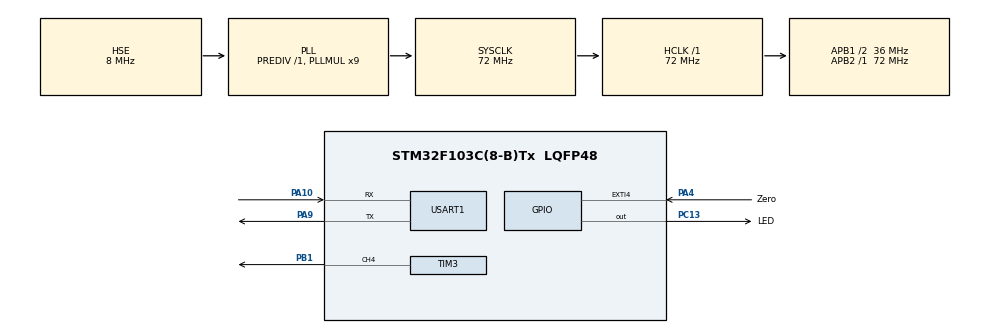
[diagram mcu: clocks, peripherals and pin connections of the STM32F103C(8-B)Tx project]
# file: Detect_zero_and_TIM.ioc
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Mcu.Family=STM32F1
Mcu.Name=STM32F103C(8-B)Tx
Mcu.Package=LQFP48
NVIC.EXTI4_IRQn=true\:0\:0\:false\:false\:true\:true\:true
NVIC.PriorityGroup=NVIC_PRIORITYGROUP_4
NVIC.TIM3_IRQn=true\:0\:0\:false\:false\:true\:true\:true
PA10.Mode=Asynchronous
PA10.Signal=USART1_RX
PA13.Mode=Serial_Wire
PA13.Signal=SYS_JTMS-SWDIO
PA14.Mode=Serial_Wire
PA14.Signal=SYS_JTCK-SWCLK
PA4.GPIO_Label=Zero
PA4.GPIO_ModeDefaultEXTI=GPIO_MODE_IT_FALLING
PA4.Signal=GPXTI4
PA9.Mode=Asynchronous
PA9.Signal=USART1_TX
PB1.Signal=S_TIM3_CH4
PC13-TAMPER-RTC.GPIO_Label=LED
PC13-TAMPER-RTC.Signal=GPIO_Output
PD0-OSC_IN.Mode=HSE-External-Oscillator
PD0-OSC_IN.Signal=RCC_OSC_IN
PD1-OSC_OUT.Mode=HSE-External-Oscillator
PD1-OSC_OUT.Signal=RCC_OSC_OUT
ProjectManager.HeapSize=0x200
ProjectManager.StackSize=0x400
ProjectManager.TargetToolchain=STM32CubeIDE
RCC.AHBFreq_Value=72000000
RCC.APB1CLKDivider=RCC_HCLK_DIV2
RCC.APB1Freq_Value=36000000
RCC.APB1TimFreq_Value=72000000
RCC.APB2Freq_Value=72000000
RCC.APB2TimFreq_Value=72000000
RCC.HCLKFreq_Value=72000000
RCC.PLLMUL=RCC_PLL_MUL9
RCC.PLLSourceVirtual=RCC_PLLSOURCE_HSE
RCC.SYSCLKFreq_VALUE=72000000
RCC.SYSCLKSource=RCC_SYSCLKSOURCE_PLLCLK
RCC.USBFreq_Value=72000000
SH.S_TIM3_CH4.0=TIM3_CH4,Output Compare4 CH4
TIM3.Channel-Output\ Compare4\ CH4=TIM_CHANNEL_4
TIM3.Period=10000
TIM3.Prescaler=7200
USART1.VirtualMode=VM_ASYNC
VP_TIM3_VS_ClockSourceINT.Mode=Internal
board=custom

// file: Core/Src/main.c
/* USER CODE BEGIN Header */
/**
  ******************************************************************************
  * @file           : main.c
  * @brief          : Main program body
  ******************************************************************************
  * @attention
  *
  * <h2><center>&copy; Copyright (c) 2021 STMicroelectronics.
  * All rights reserved.</center></h2>
  *
  * This software component is licensed by ST under BSD 3-Clause license,
  * the "License"; You may not use this file except in compliance with the
  * License. You may obtain a copy of the License at:
  *                        opensource.org/licenses/BSD-3-Clause
  *
  ******************************************************************************
  */
/* USER CODE END Header */
#include "main.h"

/* USER CODE BEGIN Includes */
#include "stdio.h"
#include "string.h"
unsigned short Numbers_tiks = 0;
unsigned short tikcks_val;
/* USER CODE END Includes */

TIM_HandleTypeDef htim3;

UART_HandleTypeDef huart1;

void SystemClock_Config(void);
static void MX_GPIO_Init(void);
static void MX_TIM3_Init(void);
static void MX_USART1_UART_Init(void);

int main(void)
{

  /* MCU Configuration--------------------------------------------------------*/

  /* Reset of all peripherals, Initializes the Flash interface and the Systick. */
  HAL_Init();

  /* Configure the system clock */
  SystemClock_Config();

  /* Initialize all configured peripherals */
  MX_GPIO_Init();
  MX_TIM3_Init();
  MX_USART1_UART_Init();
  /* USER CODE BEGIN 2 */
  // Start timer
  HAL_TIM_Base_Start_IT(&htim3);
  //uint8_t txBuffer[] = "Hello World!";
  //unsigned short tikcks_val = Numbers_tiks;
  /* USER CODE END 2 */

  /* Infinite loop */
	while (1) {

		/* USER CODE BEGIN 3 */
/*		if (Numbers_tiks - tikcks_val >= 100) { //(220) Если количество тиков >= 100 то...
			HAL_GPIO_TogglePin(GPIOC, GPIO_PIN_13);
			tikcks_val = Numbers_tiks; // "Сбрасываем" счетчик приравняв его к текущему числу тиков.

			HAL_UART_Transmit(&huart1, (uint8_t*) txBuffer, sizeof(txBuffer),500);
			HAL_Delay(1000);
		}*/
	}
	/* USER CODE END 3 */
}

void SystemClock_Config(void)
{
  RCC_OscInitTypeDef RCC_OscInitStruct = {0};
  RCC_ClkInitTypeDef RCC_ClkInitStruct = {0};

  /** Initializes the RCC Oscillators according to the specified parameters
  * in the RCC_OscInitTypeDef structure.
  */
  RCC_OscInitStruct.OscillatorType = RCC_OSCILLATORTYPE_HSE;
  RCC_OscInitStruct.HSEState = RCC_HSE_ON;
  RCC_OscInitStruct.HSEPredivValue = RCC_HSE_PREDIV_DIV1;
  RCC_OscInitStruct.HSIState = RCC_HSI_ON;
  RCC_OscInitStruct.PLL.PLLState = RCC_PLL_ON;
  RCC_OscInitStruct.PLL.PLLSource = RCC_PLLSOURCE_HSE;
  RCC_OscInitStruct.PLL.PLLMUL = RCC_PLL_MUL9;
  if (HAL_RCC_OscConfig(&RCC_OscInitStruct) != HAL_OK)
  {
    Error_Handler();
  }
  /** Initializes the CPU, AHB and APB buses clocks
  */
  RCC_ClkInitStruct.ClockType = RCC_CLOCKTYPE_HCLK|RCC_CLOCKTYPE_SYSCLK
                              |RCC_CLOCKTYPE_PCLK1|RCC_CLOCKTYPE_PCLK2;
  RCC_ClkInitStruct.SYSCLKSource = RCC_SYSCLKSOURCE_PLLCLK;
  RCC_ClkInitStruct.AHBCLKDivider = RCC_SYSCLK_DIV1;
  RCC_ClkInitStruct.APB1CLKDivider = RCC_HCLK_DIV2;
  RCC_ClkInitStruct.APB2CLKDivider = RCC_HCLK_DIV1;

  if (HAL_RCC_ClockConfig(&RCC_ClkInitStruct, FLASH_LATENCY_2) != HAL_OK)
  {
    Error_Handler();
  }
}

static void MX_TIM3_Init(void)
{

  TIM_ClockConfigTypeDef sClockSourceConfig = {0};
  TIM_MasterConfigTypeDef sMasterConfig = {0};
  TIM_OC_InitTypeDef sConfigOC = {0};

  htim3.Instance = TIM3;
  htim3.Init.Prescaler = 7200;
  htim3.Init.CounterMode = TIM_COUNTERMODE_UP;
  htim3.Init.Period = 10000;
  htim3.Init.ClockDivision = TIM_CLOCKDIVISION_DIV1;
  htim3.Init.AutoReloadPreload = TIM_AUTORELOAD_PRELOAD_DISABLE;
  if (HAL_TIM_Base_Init(&htim3) != HAL_OK)
  {
    Error_Handler();
  }
  sClockSourceConfig.ClockSource = TIM_CLOCKSOURCE_INTERNAL;
  if (HAL_TIM_ConfigClockSource(&htim3, &sClockSourceConfig) != HAL_OK)
  {
    Error_Handler();
  }
  if (HAL_TIM_OC_Init(&htim3) != HAL_OK)
  {
    Error_Handler();
  }
  sMasterConfig.MasterOutputTrigger = TIM_TRGO_RESET;
  sMasterConfig.MasterSlaveMode = TIM_MASTERSLAVEMODE_DISABLE;
  if (HAL_TIMEx_MasterConfigSynchronization(&htim3, &sMasterConfig) != HAL_OK)
  {
    Error_Handler();
  }
  sConfigOC.OCMode = TIM_OCMODE_TIMING;
  sConfigOC.Pulse = 0;
  sConfigOC.OCPolarity = TIM_OCPOLARITY_HIGH;
  sConfigOC.OCFastMode = TIM_OCFAST_DISABLE;
  if (HAL_TIM_OC_ConfigChannel(&htim3, &sConfigOC, TIM_CHANNEL_4) != HAL_OK)
  {
    Error_Handler();
  }
  HAL_TIM_MspPostInit(&htim3);

}

static void MX_USART1_UART_Init(void)
{

  huart1.Instance = USART1;
  huart1.Init.BaudRate = 115200;
  huart1.Init.WordLength = UART_WORDLENGTH_8B;
  huart1.Init.StopBits = UART_STOPBITS_1;
  huart1.Init.Parity = UART_PARITY_NONE;
  huart1.Init.Mode = UART_MODE_TX_RX;
  huart1.Init.HwFlowCtl = UART_HWCONTROL_NONE;
  huart1.Init.OverSampling = UART_OVERSAMPLING_16;
  if (HAL_UART_Init(&huart1) != HAL_OK)
  {
    Error_Handler();
  }

}

static void MX_GPIO_Init(void)
{
  GPIO_InitTypeDef GPIO_InitStruct = {0};

  /* GPIO Ports Clock Enable */
  __HAL_RCC_GPIOC_CLK_ENABLE();
  __HAL_RCC_GPIOD_CLK_ENABLE();
  __HAL_RCC_GPIOA_CLK_ENABLE();
  __HAL_RCC_GPIOB_CLK_ENABLE();

  /*Configure GPIO pin Output Level */
  HAL_GPIO_WritePin(LED_GPIO_Port, LED_Pin, GPIO_PIN_RESET);

  /*Configure GPIO pin : LED_Pin */
  GPIO_InitStruct.Pin = LED_Pin;
  GPIO_InitStruct.Mode = GPIO_MODE_OUTPUT_PP;
  GPIO_InitStruct.Pull = GPIO_NOPULL;
  GPIO_InitStruct.Speed = GPIO_SPEED_FREQ_LOW;
  HAL_GPIO_Init(LED_GPIO_Port, &GPIO_InitStruct);

  /*Configure GPIO pin : Zero_Pin */
  GPIO_InitStruct.Pin = Zero_Pin;
  GPIO_InitStruct.Mode = GPIO_MODE_IT_FALLING;
  GPIO_InitStruct.Pull = GPIO_NOPULL;
  HAL_GPIO_Init(Zero_GPIO_Port, &GPIO_InitStruct);

  /* EXTI interrupt init*/
  HAL_NVIC_SetPriority(EXTI4_IRQn, 0, 0);
  HAL_NVIC_EnableIRQ(EXTI4_IRQn);

}

/* USER CODE BEGIN 4 */
// Callback: timer has rolled over
void HAL_TIM_PeriodElapsedCallback(TIM_HandleTypeDef *htim) {
	// Check which version of the timer triggered this callback and toggle LED
	if (htim == &htim3) {
		//Прошла секунда!
		//HAL_GPIO_TogglePin(GPIOC, GPIO_PIN_13);
		char msg[100];
		sprintf(msg, "Numpers of 220 ticks = %d\r\n", tikcks_val);
		HAL_UART_Transmit(&huart1, (uint8_t*)msg, strlen(msg), 500);
		tikcks_val = Numbers_tiks; // "Сбрасываем" счетчик приравняв его к текущему числу тиков.
	}
}

void HAL_GPIO_EXTI_Callback(uint16_t GPIO_Pin) {
	if (GPIO_Pin == GPIO_PIN_4) {  // Если прерывание от 4-го пина то...
		Numbers_tiks++;            // Считаем количество переходов через ноль!
	} else {
		__NOP();
	}
}
/* USER CODE END 4 */

void Error_Handler(void)
{
  __disable_irq();
  while (1)
  {
  }
}

/************************ (C) COPYRIGHT STMicroelectronics *****END OF FILE****/
